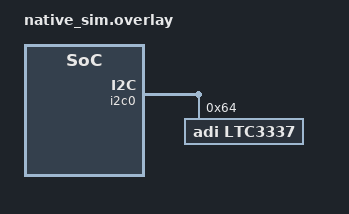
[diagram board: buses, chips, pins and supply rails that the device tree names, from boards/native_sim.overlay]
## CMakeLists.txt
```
# SPDX-FileCopyrightText: Copyright (c) 2026 Federico Borgo
# SPDX-License-Identifier: Apache-2.0

cmake_minimum_required(VERSION 3.28.0)

find_package(Zephyr REQUIRED HINTS $ENV{ZEPHYR_BASE})
project(ltc3337)

target_sources(app PRIVATE src/test_ltc3337.c)
```

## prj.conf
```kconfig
# SPDX-FileCopyrightText: Copyright (c) 2026 Federico Borgo
# SPDX-License-Identifier: Apache-2.0

CONFIG_ZTEST=y
CONFIG_I2C=y
CONFIG_LOG=y
CONFIG_FUEL_GAUGE=y
CONFIG_FUEL_GAUGE_LTC3337=y
```

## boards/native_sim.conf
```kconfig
# SPDX-FileCopyrightText: Copyright (c) 2026 Federico Borgo
# SPDX-License-Identifier: Apache-2.0

CONFIG_EMUL=y
```

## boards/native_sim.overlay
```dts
/*
 * SPDX-FileCopyrightText: Copyright (c) 2026 Federico Borgo
 * SPDX-License-Identifier: Apache-2.0
 */

&i2c0 {
	ltc3337: ltc3337@64 {
		compatible = "adi,ltc3337";
		reg = <0x64>;
		ipeak-milliamp = <100>;
		status = "okay";
	};
};
```

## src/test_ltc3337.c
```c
/*
 * SPDX-FileCopyrightText: Copyright (c) 2026 Federico Borgo
 * SPDX-License-Identifier: Apache-2.0
 */

#include <zephyr/device.h>
#include <zephyr/drivers/emul.h>
#include <zephyr/drivers/fuel_gauge.h>
#include <zephyr/kernel.h>
#include <zephyr/ztest.h>

#include "emul_ltc3337.h"
#include "ltc3337.h"

#define LTC3337_NODE DT_COMPAT_GET_ANY_STATUS_OKAY(adi_ltc3337)

BUILD_ASSERT(DT_PROP(LTC3337_NODE, ipeak_milliamp) == 100, "The tests assume IPEAK of 100 mA");

/* Charge of one counter LSB at 100 mA with the prescaler at 0 */
#define QLSB_UAH_X1000 14910000U
/* The die temperature code is 0.784 K wide, in dK */
#define TEMP_LSB_DK    8

struct ltc3337_fixture {
	const struct device *dev;
	const struct emul *emul;
};

static void *ltc3337_setup(void)
{
	static struct ltc3337_fixture fixture;

	fixture.dev = DEVICE_DT_GET(LTC3337_NODE);
	fixture.emul = EMUL_DT_GET(LTC3337_NODE);

	zassume_true(device_is_ready(fixture.dev), "Fuel gauge not ready");

	return &fixture;
}

ZTEST_F(ltc3337, test_init_state)
{
	union fuel_gauge_prop_val val;

	zassert_equal(ltc3337_emul_get_reg(fixture->emul, LTC3337_REG_A) & LTC3337_A_ALARM_MASK,
		      LTC3337_A_ALARM_MASK, "The alarm level should be at its maximum");

	zassert_ok(fuel_gauge_get_prop(fixture->dev, FUEL_GAUGE_STATUS, &val));
	/* IPK[2:0] = 111 reads back in bits 7:5 and nothing else is set */
	zassert_equal(val.fg_status, 0xE0U);

	/* No conversion has completed yet, so the result registers still hold zero, which is
	 * outside the operating range of the chip: 0 V and -41 degC
	 */
	zassert_equal(fuel_gauge_get_prop(fixture->dev, FUEL_GAUGE_VOLTAGE_UV, &val), -ENODATA);
	zassert_equal(fuel_gauge_get_prop(fixture->dev, FUEL_GAUGE_TEMPERATURE_DK, &val), -ENODATA);
}

ZTEST_F(ltc3337, test_init_rejects_ipeak_mismatch)
{
	const struct device *dev = fixture->dev;
	uint16_t reg_c = ltc3337_emul_get_reg(fixture->emul, LTC3337_REG_C);

	/* The pins select 50 mA while the devicetree says 100 mA, which would skew the charge */
	ltc3337_emul_set_reg(fixture->emul, LTC3337_REG_C,
			     (reg_c & ~LTC3337_C_IPK_MASK) | FIELD_PREP(LTC3337_C_IPK_MASK, 5U));
	zassert_equal(dev->ops.init(dev), -EINVAL);

	ltc3337_emul_set_reg(fixture->emul, LTC3337_REG_C, reg_c);
	zassert_ok(dev->ops.init(dev));
}

ZTEST_F(ltc3337, test_voltage)
{
	union fuel_gauge_prop_val val;

	/* The unloaded BAT_IN voltage is in register E, the temperature code is still zero */
	ltc3337_emul_set_reg(fixture->emul, LTC3337_REG_E, 2458);
	ltc3337_emul_set_reg(fixture->emul, LTC3337_REG_D, 100);

	zassert_ok(fuel_gauge_get_prop(fixture->dev, FUEL_GAUGE_VOLTAGE_UV, &val));
	zassert_equal(val.voltage_uv, 2458 * 1465);

	/* The unused upper bits of the register must be ignored */
	ltc3337_emul_set_reg(fixture->emul, LTC3337_REG_E, 0xF000U | 2458U);
	zassert_ok(fuel_gauge_get_prop(fixture->dev, FUEL_GAUGE_VOLTAGE_UV, &val));
	zassert_equal(val.voltage_uv, 2458 * 1465);
}

ZTEST_F(ltc3337, test_temperature)
{
	union fuel_gauge_prop_val val;

	/* Code 0 is -41 degC, below the operating range: it is the value before the first
	 * conversion. The BAT_IN result is still zero here, and it does not matter.
	 */
	zassert_equal(fuel_gauge_get_prop(fixture->dev, FUEL_GAUGE_TEMPERATURE_DK, &val), -ENODATA);

	/* Code 0x55 is about 25 degC */
	ltc3337_emul_set_reg(fixture->emul, LTC3337_REG_C, (0x55U << 8) | 0xE0U);
	zassert_ok(fuel_gauge_get_prop(fixture->dev, FUEL_GAUGE_TEMPERATURE_DK, &val));
	zassert_equal(val.temperature_dk, 2988);

	/* Code 0xFF is 159 degC */
	ltc3337_emul_set_reg(fixture->emul, LTC3337_REG_C, (0xFFU << 8) | 0xE0U);
	zassert_ok(fuel_gauge_get_prop(fixture->dev, FUEL_GAUGE_TEMPERATURE_DK, &val));
	zassert_equal(val.temperature_dk, 4321);
}

ZTEST_F(ltc3337, test_charge)
{
	union fuel_gauge_prop_val val;

	ltc3337_emul_set_reg(fixture->emul, LTC3337_REG_B, 1000);
	zassert_ok(fuel_gauge_get_prop(fixture->dev, FUEL_GAUGE_CONSUMED_CAPACITY_UAH, &val));
	zassert_equal(val.consumed_capacity_uah, 1000U * (QLSB_UAH_X1000 / 1000U));

	/* Every prescaler step halves the charge of a count */
	val.cc_config = 2;
	zassert_ok(fuel_gauge_set_prop(fixture->dev, FUEL_GAUGE_CC_CONFIG, val));
	zassert_ok(fuel_gauge_get_prop(fixture->dev, FUEL_GAUGE_CONSUMED_CAPACITY_UAH, &val));
	zassert_equal(val.consumed_capacity_uah, 1000U * (QLSB_UAH_X1000 / 1000U) / 4U);

	/* The largest count does not overflow */
	ltc3337_emul_set_reg(fixture->emul, LTC3337_REG_B, UINT16_MAX);
	zassert_ok(fuel_gauge_get_prop(fixture->dev, FUEL_GAUGE_CONSUMED_CAPACITY_UAH, &val));
	zassert_equal(val.consumed_capacity_uah,
		      DIV_ROUND_CLOSEST(UINT16_MAX * (QLSB_UAH_X1000 / 1000U), 4U));
}

ZTEST_F(ltc3337, test_charge_rounding)
{
	union fuel_gauge_prop_val val = {.cc_config = 15};

	/* One count is 0.455 uAh at prescaler 15, the result is rounded to the nearest uAh */
	zassert_ok(fuel_gauge_set_prop(fixture->dev, FUEL_GAUGE_CC_CONFIG, val));

	ltc3337_emul_set_reg(fixture->emul, LTC3337_REG_B, 1);
	zassert_ok(fuel_gauge_get_prop(fixture->dev, FUEL_GAUGE_CONSUMED_CAPACITY_UAH, &val));
	zassert_equal(val.consumed_capacity_uah, 0U);

	ltc3337_emul_set_reg(fixture->emul, LTC3337_REG_B, 2);
	zassert_ok(fuel_gauge_get_prop(fixture->dev, FUEL_GAUGE_CONSUMED_CAPACITY_UAH, &val));
	zassert_equal(val.consumed_capacity_uah, 1U);

	ltc3337_emul_set_reg(fixture->emul, LTC3337_REG_B, 4);
	zassert_ok(fuel_gauge_get_prop(fixture->dev, FUEL_GAUGE_CONSUMED_CAPACITY_UAH, &val));
	zassert_equal(val.consumed_capacity_uah, 2U);
}

ZTEST_F(ltc3337, test_charge_preload)
{
	union fuel_gauge_prop_val val;

	/* 4096 counts, written in the upper byte of register B */
	val.consumed_capacity_uah = 4096U * (QLSB_UAH_X1000 / 1000U);
	zassert_ok(fuel_gauge_set_prop(fixture->dev, FUEL_GAUGE_CONSUMED_CAPACITY_UAH, val));
	zassert_equal(ltc3337_emul_get_reg(fixture->emul, LTC3337_REG_B), 0x1000U);

	zassert_ok(fuel_gauge_get_prop(fixture->dev, FUEL_GAUGE_CONSUMED_CAPACITY_UAH, &val));
	zassert_equal(val.consumed_capacity_uah, 4096U * (QLSB_UAH_X1000 / 1000U));

	/* The lower byte of the counter is not writable, it is cut off */
	val.consumed_capacity_uah = 4100U * (QLSB_UAH_X1000 / 1000U);
	zassert_ok(fuel_gauge_set_prop(fixture->dev, FUEL_GAUGE_CONSUMED_CAPACITY_UAH, val));
	zassert_equal(ltc3337_emul_get_reg(fixture->emul, LTC3337_REG_B), 0x1000U);

	/* More charge than the counter can hold */
	val.consumed_capacity_uah = UINT32_MAX;
	zassert_equal(fuel_gauge_set_prop(fixture->dev, FUEL_GAUGE_CONSUMED_CAPACITY_UAH, val),
		      -ERANGE);
}

ZTEST_F(ltc3337, test_cc_config)
{
	union fuel_gauge_prop_val val;
	const uint8_t config = LTC3337_CC_SHUTDOWN | LTC3337_CC_COUNTER_CHECK | 0x0AU;

	val.cc_config = config;
	zassert_ok(fuel_gauge_set_prop(fixture->dev, FUEL_GAUGE_CC_CONFIG, val));
	zassert_equal(ltc3337_emul_get_reg(fixture->emul, LTC3337_REG_A),
		      LTC3337_A_ALARM_MASK | config);

	val.cc_config = 0;
	zassert_ok(fuel_gauge_get_prop(fixture->dev, FUEL_GAUGE_CC_CONFIG, &val));
	zassert_equal(val.cc_config, config);

	/* Clear interrupt and ADC trigger are not part of the configuration */
	val.cc_config = LTC3337_A_CLEAR_INT;
	zassert_equal(fuel_gauge_set_prop(fixture->dev, FUEL_GAUGE_CC_CONFIG, val), -EINVAL);
	val.cc_config = LTC3337_A_ADC_TRIGGER;
	zassert_equal(fuel_gauge_set_prop(fixture->dev, FUEL_GAUGE_CC_CONFIG, val), -EINVAL);
}

ZTEST_F(ltc3337, test_temperature_alarms)
{
	union fuel_gauge_prop_val in;
	union fuel_gauge_prop_val out;

	in.high_temperature_alarm_dk = 3231; /* 50 degC */
	zassert_ok(fuel_gauge_set_prop(fixture->dev, FUEL_GAUGE_HIGH_TEMPERATURE_ALARM_DK, in));
	zassert_ok(fuel_gauge_get_prop(fixture->dev, FUEL_GAUGE_HIGH_TEMPERATURE_ALARM_DK, &out));
	zassert_within(out.high_temperature_alarm_dk, in.high_temperature_alarm_dk, TEMP_LSB_DK);

	in.low_temperature_alarm_dk = 2631; /* -10 degC */
	zassert_ok(fuel_gauge_set_prop(fixture->dev, FUEL_GAUGE_LOW_TEMPERATURE_ALARM_DK, in));
	zassert_ok(fuel_gauge_get_prop(fixture->dev, FUEL_GAUGE_LOW_TEMPERATURE_ALARM_DK, &out));
	zassert_within(out.low_temperature_alarm_dk, in.low_temperature_alarm_dk, TEMP_LSB_DK);

	/* The cold level is in the lower byte of register H and the hot level in the upper one */
	zassert_equal(ltc3337_emul_get_reg(fixture->emul, LTC3337_REG_H), (116U << 8) | 39U);

	/* Setting one level does not change the other */
	zassert_ok(fuel_gauge_get_prop(fixture->dev, FUEL_GAUGE_HIGH_TEMPERATURE_ALARM_DK, &out));
	zassert_within(out.high_temperature_alarm_dk, 3231, TEMP_LSB_DK);

	/* Colder than -41 degC and hotter than 159 degC cannot be represented */
	in.low_temperature_alarm_dk = 2000;
	zassert_equal(fuel_gauge_set_prop(fixture->dev, FUEL_GAUGE_LOW_TEMPERATURE_ALARM_DK, in),
		      -ERANGE);
	in.high_temperature_alarm_dk = 5000;
	zassert_equal(fuel_gauge_set_prop(fixture->dev, FUEL_GAUGE_HIGH_TEMPERATURE_ALARM_DK, in),
		      -ERANGE);
}

ZTEST_F(ltc3337, test_status_acknowledges_alarms)
{
	union fuel_gauge_prop_val val;

	/* The alarm level was reached and the die is hot */
	ltc3337_emul_set_reg(fixture->emul, LTC3337_REG_C,
			     (0x55U << 8) | 0xE0U | LTC3337_C_ALARM_TRIP | LTC3337_C_HOT_ALARM);

	zassert_ok(fuel_gauge_get_prop(fixture->dev, FUEL_GAUGE_STATUS, &val));
	zassert_equal(val.fg_status, 0xE0U | LTC3337_C_ALARM_TRIP | LTC3337_C_HOT_ALARM);

	/* Reading the status released the interrupt */
	zassert_equal(ltc3337_emul_get_reg(fixture->emul, LTC3337_REG_C) & LTC3337_C_ALARMS, 0U);
	zassert_ok(fuel_gauge_get_prop(fixture->dev, FUEL_GAUGE_STATUS, &val));
	zassert_equal(val.fg_status, 0xE0U);

	/* The acknowledge did not touch the configuration */
	zassert_equal(ltc3337_emul_get_reg(fixture->emul, LTC3337_REG_A), LTC3337_A_POR);
}

ZTEST_F(ltc3337, test_unsupported_props)
{
	union fuel_gauge_prop_val val = {.avg_current_ua = 0};

	zassert_equal(fuel_gauge_get_prop(fixture->dev, FUEL_GAUGE_CURRENT_UA, &val), -ENOTSUP);
	zassert_equal(fuel_gauge_set_prop(fixture->dev, FUEL_GAUGE_VOLTAGE_UV, val), -ENOTSUP);
	zassert_equal(fuel_gauge_set_prop(fixture->dev, FUEL_GAUGE_STATUS, val), -ENOTSUP);

	/* The chip does not know the capacity of the battery, so it cannot tell what is left */
	zassert_equal(fuel_gauge_get_prop(fixture->dev, FUEL_GAUGE_REMAINING_CAPACITY_UAH, &val),
		      -ENOTSUP);
	zassert_equal(fuel_gauge_set_prop(fixture->dev, FUEL_GAUGE_REMAINING_CAPACITY_UAH, val),
		      -ENOTSUP);
}

ZTEST_F(ltc3337, test_overflow_persists_until_counter_rewrite)
{
	union fuel_gauge_prop_val val;

	/* The counter wrapped, and the alarm level was reached on the way */
	ltc3337_emul_set_reg(fixture->emul, LTC3337_REG_C,
			     0xE0U | LTC3337_C_OVERFLOW | LTC3337_C_ALARM_TRIP);

	zassert_ok(fuel_gauge_get_prop(fixture->dev, FUEL_GAUGE_STATUS, &val));
	zassert_equal(val.fg_status, 0xE0U | LTC3337_C_OVERFLOW | LTC3337_C_ALARM_TRIP);

	/* Reading the status acknowledged the alarm trip, but not the overflow */
	zassert_equal(ltc3337_emul_get_reg(fixture->emul, LTC3337_REG_C) &
			      (LTC3337_C_OVERFLOW | LTC3337_C_ALARMS),
		      LTC3337_C_OVERFLOW);
	zassert_ok(fuel_gauge_get_prop(fixture->dev, FUEL_GAUGE_STATUS, &val));
	zassert_equal(val.fg_status, 0xE0U | LTC3337_C_OVERFLOW);

	/* Rewriting the counter recovers from the overflow */
	val.consumed_capacity_uah = 0;
	zassert_ok(fuel_gauge_set_prop(fixture->dev, FUEL_GAUGE_CONSUMED_CAPACITY_UAH, val));
	zassert_equal(ltc3337_emul_get_reg(fixture->emul, LTC3337_REG_C) &
			      (LTC3337_C_OVERFLOW | LTC3337_C_ALARMS),
		      0U);
	zassert_ok(fuel_gauge_get_prop(fixture->dev, FUEL_GAUGE_STATUS, &val));
	zassert_equal(val.fg_status, 0xE0U);
}

ZTEST_F(ltc3337, test_no_measurement_while_shut_down)
{
	union fuel_gauge_prop_val val = {.cc_config = LTC3337_CC_SHUTDOWN};

	ltc3337_emul_set_reg(fixture->emul, LTC3337_REG_E, 2458);
	ltc3337_emul_set_reg(fixture->emul, LTC3337_REG_C, (0x55U << 8) | 0xE0U);

	zassert_ok(fuel_gauge_set_prop(fixture->dev, FUEL_GAUGE_CC_CONFIG, val));

	/* The stored results are not updated in this mode, so they are not returned */
	zassert_equal(fuel_gauge_get_prop(fixture->dev, FUEL_GAUGE_VOLTAGE_UV, &val), -ENODATA);
	zassert_equal(fuel_gauge_get_prop(fixture->dev, FUEL_GAUGE_TEMPERATURE_DK, &val), -ENODATA);

	/* Everything that does not depend on a conversion keeps working */
	zassert_ok(fuel_gauge_get_prop(fixture->dev, FUEL_GAUGE_STATUS, &val));
	zassert_ok(fuel_gauge_get_prop(fixture->dev, FUEL_GAUGE_CONSUMED_CAPACITY_UAH, &val));

	val.cc_config = 0;
	zassert_ok(fuel_gauge_set_prop(fixture->dev, FUEL_GAUGE_CC_CONFIG, val));
	zassert_ok(fuel_gauge_get_prop(fixture->dev, FUEL_GAUGE_VOLTAGE_UV, &val));
	zassert_equal(val.voltage_uv, 2458 * 1465);
	zassert_ok(fuel_gauge_get_prop(fixture->dev, FUEL_GAUGE_TEMPERATURE_DK, &val));
	zassert_equal(val.temperature_dk, 2988);
}

ZTEST_SUITE(ltc3337, NULL, ltc3337_setup, NULL, NULL, NULL);
```
